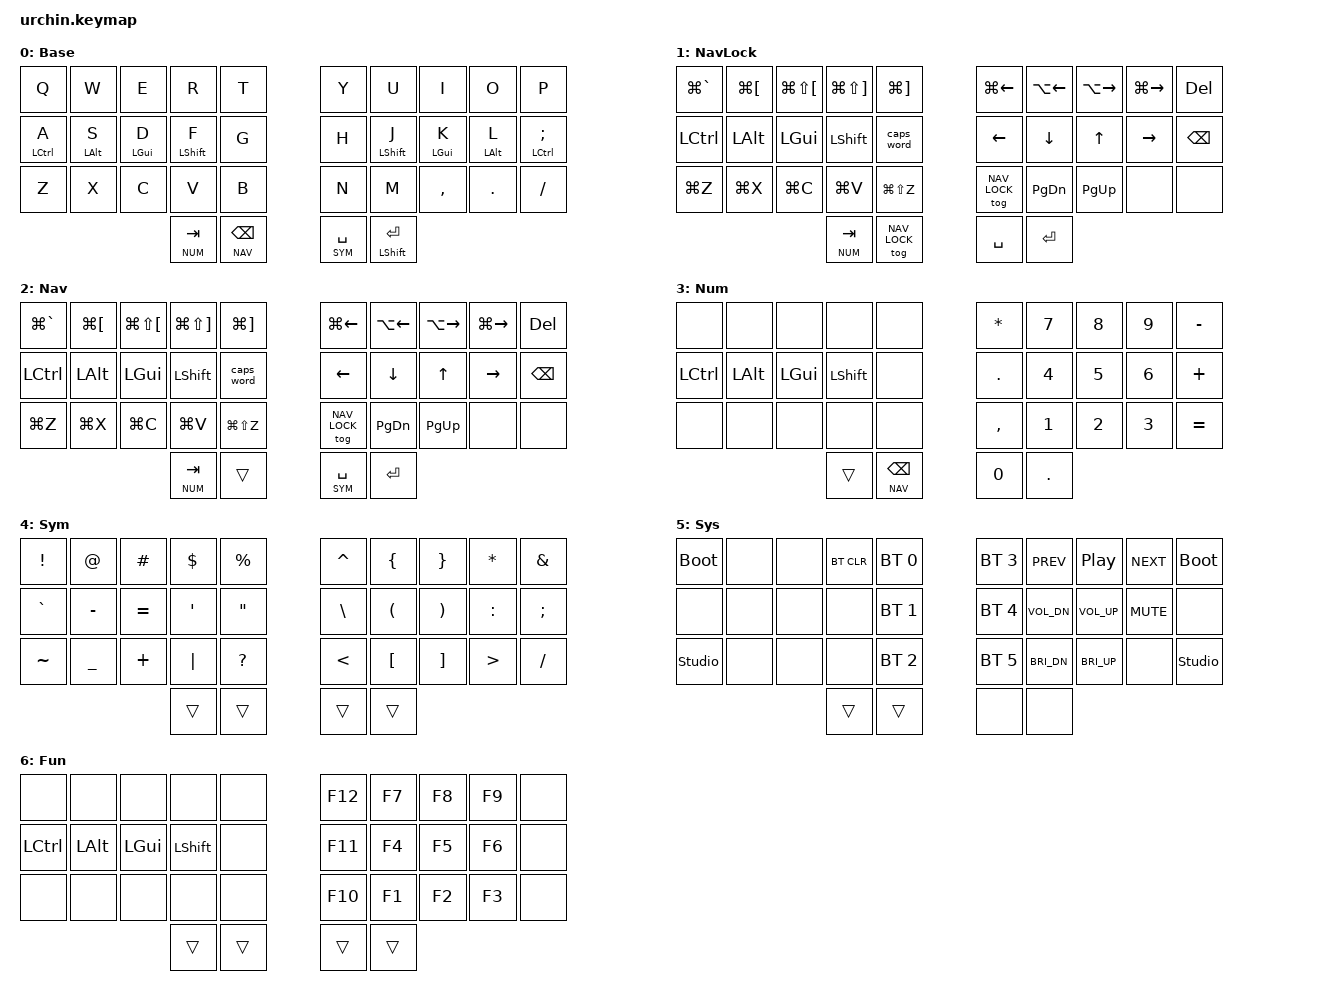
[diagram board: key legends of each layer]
/*
 * Copyright (c) 2020 duckyb
 *
 * SPDX-License-Identifier: MIT
 *
 * QWERTY + home-row mods layout for macOS. See keymap.html for an
 * interactive picture of every layer.
 *
 * Key positions (34 keys):
 *
 *   0  1  2  3  4      5  6  7  8  9
 *  10 11 12 13 14     15 16 17 18 19
 *  20 21 22 23 24     25 26 27 28 29
 *        30 31            32 33
 *
 * Thumbs: 30 = left outer, 31 = left inner, 32 = right inner, 33 = right outer.
 */

#include <behaviors.dtsi>
#include <dt-bindings/zmk/keys.h>
#include <dt-bindings/zmk/bt.h>
#include <dt-bindings/zmk/outputs.h>

// Layers. NAV_LOCK sits below the hold layers so NUM/SYM still work on top of it.
#define BASE     0
#define NAV_LOCK 1
#define NAV      2
#define NUM      3
#define SYM      4
#define SYS      5
#define FUN      6

#define KEYS_L 0 1 2 3 4 10 11 12 13 14 20 21 22 23 24
#define KEYS_R 5 6 7 8 9 15 16 17 18 19 25 26 27 28 29
#define THUMBS 30 31 32 33

/ {
    behaviors {
        // "Timeless" home-row mods (urob/zmk-config):
        // - only become a mod when the next key is on the OTHER hand or a thumb,
        // - decided on release, so fast same-hand rolls stay letters,
        // - always a tap if pressed within 100 ms of the previous key (mid-word).
        // Tuning: if mods misfire while typing fast, raise require-prior-idle-ms
        // in 10-20 ms steps (rule of thumb: 10500 / WPM). If mods feel slow to
        // engage, lower it. tapping-term-ms only matters for same-hand holds and
        // a mod held on its own; cross-hand chords resolve on release.
        hml: home_row_mod_left {
            compatible = "zmk,behavior-hold-tap";
            #binding-cells = <2>;
            flavor = "balanced";
            tapping-term-ms = <200>;
            quick-tap-ms = <175>;
            require-prior-idle-ms = <100>;
            hold-trigger-key-positions = <KEYS_R THUMBS>;
            hold-trigger-on-release;
            bindings = <&kp>, <&kp>;
        };

        hmr: home_row_mod_right {
            compatible = "zmk,behavior-hold-tap";
            #binding-cells = <2>;
            flavor = "balanced";
            tapping-term-ms = <200>;
            quick-tap-ms = <175>;
            require-prior-idle-ms = <100>;
            hold-trigger-key-positions = <KEYS_L THUMBS>;
            hold-trigger-on-release;
            bindings = <&kp>, <&kp>;
        };

        // Thumb layer-tap: tap = key, hold = layer.
        // Tap-then-hold within quick-tap-ms repeats the key (hold ⌫ to delete a run).
        thl: thumb_layer_tap {
            compatible = "zmk,behavior-hold-tap";
            #binding-cells = <2>;
            flavor = "balanced";
            tapping-term-ms = <200>;
            quick-tap-ms = <175>;
            bindings = <&mo>, <&kp>;
        };

        // Thumb mod-tap: tap = key, hold = modifier (⏎ / ⇧).
        thm: thumb_mod_tap {
            compatible = "zmk,behavior-hold-tap";
            #binding-cells = <2>;
            flavor = "balanced";
            tapping-term-ms = <200>;
            quick-tap-ms = <175>;
            bindings = <&kp>, <&kp>;
        };
    };

    combos {
        compatible = "zmk,combos";

        // X + C pressed together = Esc. Short window + prior-idle so
        // typing "xc" mid-word never fires it.
        combo_esc {
            timeout-ms = <35>;
            require-prior-idle-ms = <150>;
            key-positions = <21 22>;
            bindings = <&kp ESC>;
            layers = <BASE>;
        };
    };

    // Hold both left thumbs (NAV + NUM) = SYS.
    // Hold both inner thumbs (NAV + SYM) = FUN.
    conditional_layers {
        compatible = "zmk,conditional-layers";
        sys_layer {
            if-layers = <NAV NUM>;
            then-layer = <SYS>;
        };
        fun_layer {
            if-layers = <NAV SYM>;
            then-layer = <FUN>;
        };
    };

    keymap {
        compatible = "zmk,keymap";

        // ⌃ ⌥ ⌘ ⇧ on pinky / ring / middle / index, mirrored.
        base_layer {
            display-name = "Base";
            bindings = <
            &kp Q          &kp W          &kp E          &kp R           &kp T      &kp Y   &kp U           &kp I          &kp O          &kp P
            &hml LCTRL A   &hml LALT S    &hml LGUI D    &hml LSHFT F    &kp G      &kp H   &hmr LSHFT J    &hmr LGUI K    &hmr LALT L    &hmr LCTRL SEMI
            &kp Z          &kp X          &kp C          &kp V           &kp B      &kp N   &kp M           &kp COMMA      &kp DOT        &kp FSLH
                                          &thl NUM TAB   &thl NAV BSPC              &thl SYM SPACE  &thm LSHFT RET
            >;
        };

        // NAV locked on (tap N while holding NAV). Tap the ⌫ thumb or N to leave.
        nav_lock_layer {
            display-name = "NavLock";
            bindings = <
            &kp LG(GRAVE)  &kp LG(LBKT)   &kp LG(LS(LBKT)) &kp LG(LS(RBKT)) &kp LG(RBKT)   &kp LG(LEFT)  &kp LA(LEFT)  &kp LA(RIGHT) &kp LG(RIGHT) &kp DEL
            &kp LCTRL      &kp LALT       &kp LGUI         &kp LSHFT        &caps_word     &kp LEFT      &kp DOWN      &kp UP        &kp RIGHT     &kp BSPC
            &kp LG(Z)      &kp LG(X)      &kp LG(C)        &kp LG(V)        &kp LG(LS(Z))  &tog NAV_LOCK &kp PG_DN     &kp PG_UP     &none         &none
                                          &thl NUM TAB     &tog NAV_LOCK                   &kp SPACE     &kp RET
            >;
        };

        // Hold the ⌫ thumb. Arrows on hjkl, plain mods on the left home row.
        nav_layer {
            display-name = "Nav";
            bindings = <
            &kp LG(GRAVE)  &kp LG(LBKT)   &kp LG(LS(LBKT)) &kp LG(LS(RBKT)) &kp LG(RBKT)   &kp LG(LEFT)  &kp LA(LEFT)  &kp LA(RIGHT) &kp LG(RIGHT) &kp DEL
            &kp LCTRL      &kp LALT       &kp LGUI         &kp LSHFT        &caps_word     &kp LEFT      &kp DOWN      &kp UP        &kp RIGHT     &kp BSPC
            &kp LG(Z)      &kp LG(X)      &kp LG(C)        &kp LG(V)        &kp LG(LS(Z))  &tog NAV_LOCK &kp PG_DN     &kp PG_UP     &none         &none
                                          &thl NUM TAB     &trans                          &thl SYM SPACE &kp RET
            >;
        };

        // Hold the Tab thumb. Right-hand numpad (7-8-9 on top, 1-2-3 on the bottom row), plain mods on the left.
        num_layer {
            display-name = "Num";
            bindings = <
            &none          &none          &none            &none            &none          &kp STAR      &kp N7        &kp N8        &kp N9        &kp MINUS
            &kp LCTRL      &kp LALT       &kp LGUI         &kp LSHFT        &none          &kp DOT       &kp N4        &kp N5        &kp N6        &kp PLUS
            &none          &none          &none            &none            &none          &kp COMMA     &kp N1        &kp N2        &kp N3        &kp EQUAL
                                          &trans           &thl NAV BSPC                   &kp N0        &kp DOT
            >;
        };

        // Hold Space. Top-left row = Shift+1..5. Openers in the index column, closers in the middle column.
        sym_layer {
            display-name = "Sym";
            bindings = <
            &kp EXCL       &kp AT         &kp HASH         &kp DOLLAR       &kp PRCNT      &kp CARET     &kp LBRC      &kp RBRC      &kp STAR      &kp AMPS
            &kp GRAVE      &kp MINUS      &kp EQUAL        &kp SQT          &kp DQT        &kp BSLH      &kp LPAR      &kp RPAR      &kp COLON     &kp SEMI
            &kp TILDE      &kp UNDER      &kp PLUS         &kp PIPE         &kp QMARK      &kp LT        &kp LBKT      &kp RBKT      &kp GT        &kp FSLH
                                          &trans           &trans                          &trans        &trans
            >;
        };

        // Hold both left thumbs. Bluetooth, bootloader, Studio, media.
        sys_layer {
            display-name = "Sys";
            bindings = <
            &bootloader     &none          &none            &bt BT_CLR       &bt BT_SEL 0   &bt BT_SEL 3  &kp C_PREV    &kp C_PP      &kp C_NEXT    &bootloader
            &none           &none          &none            &none            &bt BT_SEL 1   &bt BT_SEL 4  &kp C_VOL_DN  &kp C_VOL_UP  &kp C_MUTE    &none
            &studio_unlock  &none          &none            &none            &bt BT_SEL 2   &bt BT_SEL 5  &kp C_BRI_DN  &kp C_BRI_UP  &none         &studio_unlock
                                           &trans           &trans                          &none         &none
            >;
        };

        // Hold both inner thumbs (⌫ + Space). F-keys in the same spots as
        // the NUM digits (F7-F8-F9 on top, F1-F2-F3 on the bottom row),
        // F10-F12 in the inner column, plain mods on the left home row.
        fun_layer {
            display-name = "Fun";
            bindings = <
            &none           &none          &none            &none            &none          &kp F12       &kp F7        &kp F8        &kp F9        &none
            &kp LCTRL       &kp LALT       &kp LGUI         &kp LSHFT        &none          &kp F11       &kp F4        &kp F5        &kp F6        &none
            &none           &none          &none            &none            &none          &kp F10       &kp F1        &kp F2        &kp F3        &none
                                           &trans           &trans                          &trans        &trans
            >;
        };
    };
};
